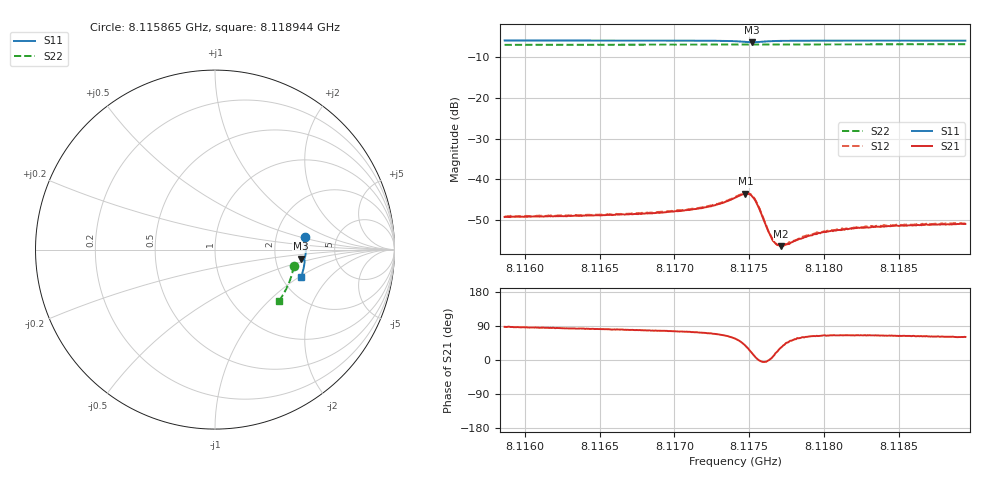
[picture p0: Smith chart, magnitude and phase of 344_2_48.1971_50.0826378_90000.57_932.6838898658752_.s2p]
#  HZ  S  RI  R  50.00
! Rohde & Schwarz Vector Network Analyzer
! Rohde-Schwarz,ZNB20-2Port,1311601062101988,3.16
! Created: UTC 3/20/2024, 11:51:31 AM
! freq[Hz]  re:S11  im:S11  re:S21  im:S21  re:S12  im:S12  re:S22  im:S22
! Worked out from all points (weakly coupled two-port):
!   401 points, 8.115865 GHz to 8.118944 GHz, reference 50 ohm
!   highest |S21| = -43.50 dB at 8.117474 GHz (marker M1); lowest = -56.4 dB at 8.117713 GHz (marker M2)
!   lowest |S11| = -6.3 dB at 8.11752 GHz (marker M3), VSWR 2.86, Z = 140 - j18.4 ohm
!   |S11| at or under -10 dB: nowhere
!   |S22| runs from -7.0 to -6.8 dB; largest |S21 - S12| = 0.00019
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8.1158655e9  0.5028 0.0681  0.000153 0.00346  0.000226 0.0035  0.4388 -0.0921
8.1163812e9  0.506 0.0295  0.000446 0.00354  0.000535 0.0036  0.4313 -0.127
8.1168969e9  0.5057 -0.01  0.000859 0.00379  0.000941 0.00389  0.421 -0.1615
8.1170739e9  0.5048 -0.0242  0.00112 0.00406  0.00115 0.00408  0.4169 -0.1731
8.1172048e9  0.503 -0.0354  0.00144 0.00432  0.00154 0.00438  0.4136 -0.1816
8.1173125e9  0.5002 -0.0454  0.00205 0.00468  0.00209 0.00474  0.4107 -0.1886
8.1174049e9  0.4942 -0.0543  0.00328 0.00499  0.00339 0.00505  0.4078 -0.1946
8.1174742e9  0.4841 -0.057  0.00529 0.00409  0.00539 0.00417  0.4055 -0.199
8.1174973e9  0.4807 -0.0545  0.00586 0.00311  0.00601 0.00314  0.405 -0.2001
8.1175204e9  0.4792 -0.0505  0.00592 0.00181  0.00608 0.00183  0.4042 -0.2014
8.1175358e9  0.48 -0.0473  0.00562 0.00096  0.00575 0.000962  0.4038 -0.2021
8.1175588e9  0.4834 -0.0446  0.00473 9.77e-05  0.00486 6.81e-05  0.4034 -0.2033
8.1176281e9  0.4938 -0.0472  0.00229 -4.01e-05  0.00233 -8.72e-05  0.4019 -0.2078
8.1176512e9  0.4957 -0.0498  0.00187 0.000189  0.00192 0.000207  0.4015 -0.2094
8.1176743e9  0.4971 -0.0525  0.00157 0.000493  0.0016 0.000464  0.4007 -0.2109
8.1177128e9  0.4984 -0.0568  0.00127 0.00083  0.00133 0.00084  0.3996 -0.2134
8.1177436e9  0.4989 -0.0601  0.00114 0.0011  0.00121 0.00107  0.3987 -0.2153
8.1178744e9  0.4989 -0.0725  0.000957 0.00171  0.00101 0.00175  0.3945 -0.2237
8.1179206e9  0.4986 -0.0765  0.000943 0.00184  0.000949 0.00191  0.393 -0.2266
8.1181053e9  0.4963 -0.0914  0.00101 0.00218  0.00104 0.0022  0.3868 -0.2381
8.1184363e9  0.4912 -0.1165  0.00115 0.00242  0.00119 0.00245  0.3751 -0.258
8.1189443e9  0.4806 -0.1531  0.00139 0.00248  0.00145 0.00249  0.3549 -0.2876
